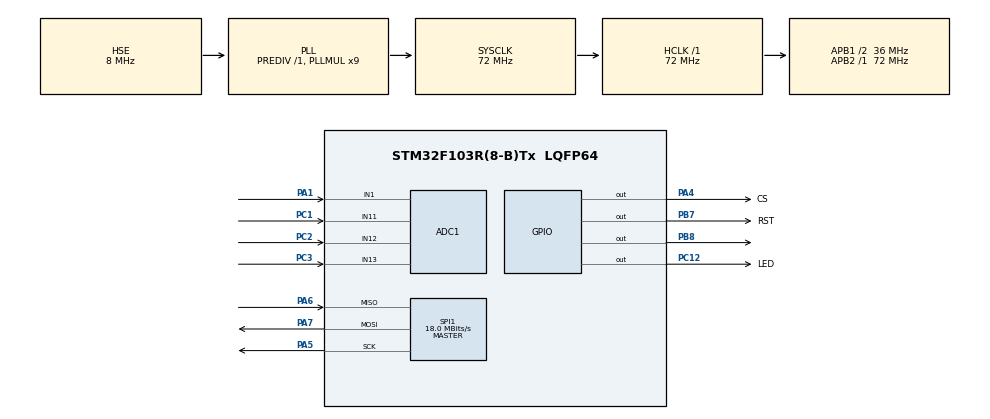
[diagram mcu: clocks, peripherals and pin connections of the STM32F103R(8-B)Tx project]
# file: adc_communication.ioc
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ADC1.Channel-3\#ChannelRegularConversion=ADC_CHANNEL_1
ADC1.Channel-7\#ChannelRegularConversion=ADC_CHANNEL_11
ADC1.Channel-8\#ChannelRegularConversion=ADC_CHANNEL_12
ADC1.Channel-9\#ChannelRegularConversion=ADC_CHANNEL_13
ADC1.ContinuousConvMode=ENABLE
ADC1.EnableRegularConversion=ENABLE
ADC1.ExternalTrigConv=ADC_SOFTWARE_START
ADC1.NbrOfConversion=4
ADC1.NbrOfConversionFlag=1
ADC1.Rank-3\#ChannelRegularConversion=1
ADC1.Rank-7\#ChannelRegularConversion=2
ADC1.Rank-8\#ChannelRegularConversion=3
ADC1.Rank-9\#ChannelRegularConversion=4
ADC1.SamplingTime-3\#ChannelRegularConversion=ADC_SAMPLETIME_13CYCLES_5
ADC1.SamplingTime-7\#ChannelRegularConversion=ADC_SAMPLETIME_13CYCLES_5
ADC1.SamplingTime-8\#ChannelRegularConversion=ADC_SAMPLETIME_13CYCLES_5
ADC1.SamplingTime-9\#ChannelRegularConversion=ADC_SAMPLETIME_13CYCLES_5
ADC1.master=1
Mcu.Family=STM32F1
Mcu.Name=STM32F103R(8-B)Tx
Mcu.Package=LQFP64
NVIC.ADC1_2_IRQn=true\:0\:0\:false\:false\:true\:true\:true\:true
NVIC.PriorityGroup=NVIC_PRIORITYGROUP_4
NVIC.SPI1_IRQn=true\:0\:0\:false\:false\:true\:true\:true\:true
NVIC.TIM4_IRQn=true\:0\:0\:false\:false\:true\:true\:true\:true
PA1.Signal=ADCx_IN1
PA13.Mode=Serial_Wire
PA13.Signal=SYS_JTMS-SWDIO
PA14.Mode=Serial_Wire
PA14.Signal=SYS_JTCK-SWCLK
PA4.GPIO_Label=CS
PA4.Signal=GPIO_Output
PA5.Mode=Full_Duplex_Master
PA5.Signal=SPI1_SCK
PA6.Mode=Full_Duplex_Master
PA6.Signal=SPI1_MISO
PA7.Mode=Full_Duplex_Master
PA7.Signal=SPI1_MOSI
PB7.GPIO_Label=RST
PB7.Signal=GPIO_Output
PB8.Signal=GPIO_Output
PC1.Signal=ADCx_IN11
PC12.GPIO_Label=LED
PC12.Signal=GPIO_Output
PC14-OSC32_IN.Signal=RCC_OSC32_IN
PC15-OSC32_OUT.Signal=RCC_OSC32_OUT
PC2.Signal=ADCx_IN12
PC3.Signal=ADCx_IN13
PD0-OSC_IN.Mode=HSE-External-Oscillator
PD0-OSC_IN.Signal=RCC_OSC_IN
PD1-OSC_OUT.Mode=HSE-External-Oscillator
PD1-OSC_OUT.Signal=RCC_OSC_OUT
ProjectManager.HeapSize=0x200
ProjectManager.StackSize=0x400
ProjectManager.TargetToolchain=STM32CubeIDE
RCC.ADCPresc=RCC_ADCPCLK2_DIV6
RCC.AHBFreq_Value=72000000
RCC.APB1CLKDivider=RCC_HCLK_DIV2
RCC.APB1Freq_Value=36000000
RCC.APB1TimFreq_Value=72000000
RCC.APB2Freq_Value=72000000
RCC.APB2TimFreq_Value=72000000
RCC.HCLKFreq_Value=72000000
RCC.PLLMUL=RCC_PLL_MUL9
RCC.PLLSourceVirtual=RCC_PLLSOURCE_HSE
RCC.SYSCLKFreq_VALUE=72000000
RCC.SYSCLKSource=RCC_SYSCLKSOURCE_PLLCLK
RCC.USBFreq_Value=72000000
SH.ADCx_IN1.0=ADC1_IN1,IN1
SH.ADCx_IN11.0=ADC1_IN11,IN11
SH.ADCx_IN12.0=ADC1_IN12,IN12
SH.ADCx_IN13.0=ADC1_IN13,IN13
SPI1.BaudRatePrescaler=SPI_BAUDRATEPRESCALER_4
SPI1.CalculateBaudRate=18.0 MBits/s
SPI1.Direction=SPI_DIRECTION_2LINES
SPI1.Mode=SPI_MODE_MASTER
SPI1.VirtualType=VM_MASTER
TIM4.Channel-Output\ Compare4\ No\ Output=TIM_CHANNEL_4
TIM4.OCMode_4=TIM_OCMODE_TOGGLE
TIM4.Period=49
TIM4.Prescaler=720
TIM4.TIM_MasterOutputTrigger=TIM_TRGO_RESET
VP_TIM4_VS_ClockSourceINT.Mode=Internal
VP_TIM4_VS_no_output4.Mode=Output Compare4 No Output
board=custom

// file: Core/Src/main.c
/* USER CODE BEGIN Header */
/**
  ******************************************************************************
  * @file           : main.c
  * @brief          : Main program body
  ******************************************************************************
  * @attention
  *
  * Copyright (c) 2022 STMicroelectronics.
  * All rights reserved.
  *
  * This software is licensed under terms that can be found in the LICENSE file
  * in the root directory of this software component.
  * If no LICENSE file comes with this software, it is provided AS-IS.
  *
  ******************************************************************************
  */
/* USER CODE END Header */
#include "main.h"

/* USER CODE BEGIN Includes */
#include "socket.h"
#include "wiznet_init.h"
#include "conf.h"
#include <string.h>
#include <stdio.h>
/* USER CODE END Includes */

 ADC_HandleTypeDef hadc1;

SPI_HandleTypeDef hspi1;

TIM_HandleTypeDef htim4;

/* USER CODE BEGIN PV */
// network information for WIZCHIP

/* USER CODE END PV */

void SystemClock_Config(void);
static void MX_GPIO_Init(void);
static void MX_ADC1_Init(void);
static void MX_TIM4_Init(void);
static void MX_SPI1_Init(void);

/* USER CODE BEGIN 0 */

/* analog_buff - buffer for values from ADC channels */
volatile uint16_t analog_buff[CH_NUM];

/* scale_ch - buffers for values from ADC channels with required sampling */
volatile uint16_t samp_ch1[BUF_LEN];
volatile uint16_t samp_ch2[BUF_LEN];
volatile uint16_t samp_ch3[BUF_LEN];
volatile uint16_t samp_ch4[BUF_LEN];
volatile uint16_t *psamp_buff[CH_NUM] = {samp_ch1, samp_ch2, samp_ch3, samp_ch4};

/* samp_pos - counter for circular filling buffers from different channels */
volatile uint16_t samp_pos = 0;
volatile uint16_t adc_counter = 0;
/* USER CODE END 0 */

int main(void)
{

  /* MCU Configuration--------------------------------------------------------*/

  /* Reset of all peripherals, Initializes the Flash interface and the Systick. */
  HAL_Init();

  /* Configure the system clock */
  SystemClock_Config();

  /* Initialize all configured peripherals */
  MX_GPIO_Init();
  MX_ADC1_Init();
  MX_TIM4_Init();
  MX_SPI1_Init();
  /* USER CODE BEGIN 2 */
  HAL_ADCEx_Calibration_Start(&hadc1);
  HAL_Delay(10);
  WIZNET_Init();
  HAL_TIM_OC_Start_IT(&htim4, TIM_CHANNEL_4);
  HAL_ADC_Start_IT(&hadc1);
  /* USER CODE END 2 */

  /* Infinite loop */
  /* USER CODE BEGIN WHILE */
  /* buffer for transfer data */
  uint16_t buf_tx[BUF_TX_LEN];

  /* buffer for receive data */
  uint8_t buf_rx[BUF_RX_LEN];

  /* IP address and port of computer and WIZNET w5500 */
  uint8_t addr_pc[4] = {192, 168, 0, 178};
  uint16_t port_pc = 4023;
  //uint8_t addr_wz[4] = {192, 168, 0, 177};
  uint16_t port_wz = 1000;
  GPIOC->BSRR = GPIO_BSRR_BS12;
  RX_data recv_data;
  Frame frame;

  /* create UDP socket and connect */
  socket(UDP_SOCKET, Sn_MR_UDP, port_wz, 0);
  connect(UDP_SOCKET, addr_pc, port_pc);

  while (1)
  {
	  /* receive data: channel ADC, command, data;
	   * configure parameters if required */
	   // 00 01 04 00 00 10 - channel, samples, timer
	  if(recvfrom(UDP_SOCKET, buf_rx, (uint16_t)BUF_RX_LEN, addr_pc, &port_pc) > 0){
		  fill_data(&recv_data, buf_rx, &frame);
		  set_period(&htim4, TIM_CHANNEL_4, recv_data.timer_period);
	  }

	  /* circular send data for one or whole ADC channels */
	  for(int j = recv_data.adc_channel; j < recv_data.send_num; j++){
		  /* temporary stop timer and create frame for transfer data */
		  HAL_TIM_OC_Stop_IT(&htim4, TIM_CHANNEL_4);
		  frame_creation(buf_tx, psamp_buff[j], (uint16_t)BUF_TX_LEN, (uint16_t)BUF_LEN, samp_pos, &recv_data, &frame);
		  HAL_TIM_OC_Start_IT(&htim4, TIM_CHANNEL_4);

		  /* transfer data */
		  for(int i = 0, nbyte = 0; nbyte < frame.total_data && i < frame.num_of_frames; i++){
			  nbyte += sendto(UDP_SOCKET, frame.buff_ptr[i], frame.frame_len, addr_pc, port_pc);
		  }
		  clear_data(&frame, &recv_data, j + 1);
	  }
    /* USER CODE END WHILE */

    /* USER CODE BEGIN 3 */
  }
  disconnect(UDP_SOCKET);
  close(UDP_SOCKET);
  /* USER CODE END 3 */
}

void SystemClock_Config(void)
{
  RCC_OscInitTypeDef RCC_OscInitStruct = {0};
  RCC_ClkInitTypeDef RCC_ClkInitStruct = {0};
  RCC_PeriphCLKInitTypeDef PeriphClkInit = {0};

  /** Initializes the RCC Oscillators according to the specified parameters
  * in the RCC_OscInitTypeDef structure.
  */
  RCC_OscInitStruct.OscillatorType = RCC_OSCILLATORTYPE_HSE;
  RCC_OscInitStruct.HSEState = RCC_HSE_ON;
  RCC_OscInitStruct.HSEPredivValue = RCC_HSE_PREDIV_DIV1;
  RCC_OscInitStruct.HSIState = RCC_HSI_ON;
  RCC_OscInitStruct.PLL.PLLState = RCC_PLL_ON;
  RCC_OscInitStruct.PLL.PLLSource = RCC_PLLSOURCE_HSE;
  RCC_OscInitStruct.PLL.PLLMUL = RCC_PLL_MUL9;
  if (HAL_RCC_OscConfig(&RCC_OscInitStruct) != HAL_OK)
  {
    Error_Handler();
  }

  /** Initializes the CPU, AHB and APB buses clocks
  */
  RCC_ClkInitStruct.ClockType = RCC_CLOCKTYPE_HCLK|RCC_CLOCKTYPE_SYSCLK
                              |RCC_CLOCKTYPE_PCLK1|RCC_CLOCKTYPE_PCLK2;
  RCC_ClkInitStruct.SYSCLKSource = RCC_SYSCLKSOURCE_PLLCLK;
  RCC_ClkInitStruct.AHBCLKDivider = RCC_SYSCLK_DIV1;
  RCC_ClkInitStruct.APB1CLKDivider = RCC_HCLK_DIV2;
  RCC_ClkInitStruct.APB2CLKDivider = RCC_HCLK_DIV1;

  if (HAL_RCC_ClockConfig(&RCC_ClkInitStruct, FLASH_LATENCY_2) != HAL_OK)
  {
    Error_Handler();
  }
  PeriphClkInit.PeriphClockSelection = RCC_PERIPHCLK_ADC;
  PeriphClkInit.AdcClockSelection = RCC_ADCPCLK2_DIV6;
  if (HAL_RCCEx_PeriphCLKConfig(&PeriphClkInit) != HAL_OK)
  {
    Error_Handler();
  }
}

static void MX_ADC1_Init(void)
{

  ADC_ChannelConfTypeDef sConfig = {0};

  /** Common config
  */
  hadc1.Instance = ADC1;
  hadc1.Init.ScanConvMode = ADC_SCAN_ENABLE;
  hadc1.Init.ContinuousConvMode = ENABLE;
  hadc1.Init.DiscontinuousConvMode = DISABLE;
  hadc1.Init.ExternalTrigConv = ADC_SOFTWARE_START;
  hadc1.Init.DataAlign = ADC_DATAALIGN_RIGHT;
  hadc1.Init.NbrOfConversion = 4;
  if (HAL_ADC_Init(&hadc1) != HAL_OK)
  {
    Error_Handler();
  }

  /** Configure Regular Channel
  */
  sConfig.Channel = ADC_CHANNEL_1;
  sConfig.Rank = ADC_REGULAR_RANK_1;
  sConfig.SamplingTime = ADC_SAMPLETIME_13CYCLES_5;
  if (HAL_ADC_ConfigChannel(&hadc1, &sConfig) != HAL_OK)
  {
    Error_Handler();
  }

  /** Configure Regular Channel
  */
  sConfig.Channel = ADC_CHANNEL_11;
  sConfig.Rank = ADC_REGULAR_RANK_2;
  if (HAL_ADC_ConfigChannel(&hadc1, &sConfig) != HAL_OK)
  {
    Error_Handler();
  }

  /** Configure Regular Channel
  */
  sConfig.Channel = ADC_CHANNEL_12;
  sConfig.Rank = ADC_REGULAR_RANK_3;
  if (HAL_ADC_ConfigChannel(&hadc1, &sConfig) != HAL_OK)
  {
    Error_Handler();
  }

  /** Configure Regular Channel
  */
  sConfig.Channel = ADC_CHANNEL_13;
  sConfig.Rank = ADC_REGULAR_RANK_4;
  if (HAL_ADC_ConfigChannel(&hadc1, &sConfig) != HAL_OK)
  {
    Error_Handler();
  }

}

static void MX_SPI1_Init(void)
{

  /* SPI1 parameter configuration*/
  hspi1.Instance = SPI1;
  hspi1.Init.Mode = SPI_MODE_MASTER;
  hspi1.Init.Direction = SPI_DIRECTION_2LINES;
  hspi1.Init.DataSize = SPI_DATASIZE_8BIT;
  hspi1.Init.CLKPolarity = SPI_POLARITY_LOW;
  hspi1.Init.CLKPhase = SPI_PHASE_1EDGE;
  hspi1.Init.NSS = SPI_NSS_SOFT;
  hspi1.Init.BaudRatePrescaler = SPI_BAUDRATEPRESCALER_4;
  hspi1.Init.FirstBit = SPI_FIRSTBIT_MSB;
  hspi1.Init.TIMode = SPI_TIMODE_DISABLE;
  hspi1.Init.CRCCalculation = SPI_CRCCALCULATION_DISABLE;
  hspi1.Init.CRCPolynomial = 10;
  if (HAL_SPI_Init(&hspi1) != HAL_OK)
  {
    Error_Handler();
  }

}

static void MX_TIM4_Init(void)
{

  TIM_ClockConfigTypeDef sClockSourceConfig = {0};
  TIM_MasterConfigTypeDef sMasterConfig = {0};
  TIM_OC_InitTypeDef sConfigOC = {0};

  htim4.Instance = TIM4;
  htim4.Init.Prescaler = 720;
  htim4.Init.CounterMode = TIM_COUNTERMODE_UP;
  htim4.Init.Period = 49;
  htim4.Init.ClockDivision = TIM_CLOCKDIVISION_DIV1;
  htim4.Init.AutoReloadPreload = TIM_AUTORELOAD_PRELOAD_DISABLE;
  if (HAL_TIM_Base_Init(&htim4) != HAL_OK)
  {
    Error_Handler();
  }
  sClockSourceConfig.ClockSource = TIM_CLOCKSOURCE_INTERNAL;
  if (HAL_TIM_ConfigClockSource(&htim4, &sClockSourceConfig) != HAL_OK)
  {
    Error_Handler();
  }
  if (HAL_TIM_OC_Init(&htim4) != HAL_OK)
  {
    Error_Handler();
  }
  sMasterConfig.MasterOutputTrigger = TIM_TRGO_RESET;
  sMasterConfig.MasterSlaveMode = TIM_MASTERSLAVEMODE_DISABLE;
  if (HAL_TIMEx_MasterConfigSynchronization(&htim4, &sMasterConfig) != HAL_OK)
  {
    Error_Handler();
  }
  sConfigOC.OCMode = TIM_OCMODE_TOGGLE;
  sConfigOC.Pulse = 0;
  sConfigOC.OCPolarity = TIM_OCPOLARITY_HIGH;
  sConfigOC.OCFastMode = TIM_OCFAST_DISABLE;
  if (HAL_TIM_OC_ConfigChannel(&htim4, &sConfigOC, TIM_CHANNEL_4) != HAL_OK)
  {
    Error_Handler();
  }

}

static void MX_GPIO_Init(void)
{
  GPIO_InitTypeDef GPIO_InitStruct = {0};

  /* GPIO Ports Clock Enable */
  __HAL_RCC_GPIOC_CLK_ENABLE();
  __HAL_RCC_GPIOD_CLK_ENABLE();
  __HAL_RCC_GPIOA_CLK_ENABLE();
  __HAL_RCC_GPIOB_CLK_ENABLE();

  /*Configure GPIO pin Output Level */
  HAL_GPIO_WritePin(CS_GPIO_Port, CS_Pin, GPIO_PIN_RESET);

  /*Configure GPIO pin Output Level */
  HAL_GPIO_WritePin(LED_GPIO_Port, LED_Pin, GPIO_PIN_RESET);

  /*Configure GPIO pin Output Level */
  HAL_GPIO_WritePin(GPIOB, RST_Pin|GPIO_PIN_8, GPIO_PIN_RESET);

  /*Configure GPIO pin : CS_Pin */
  GPIO_InitStruct.Pin = CS_Pin;
  GPIO_InitStruct.Mode = GPIO_MODE_OUTPUT_PP;
  GPIO_InitStruct.Pull = GPIO_NOPULL;
  GPIO_InitStruct.Speed = GPIO_SPEED_FREQ_LOW;
  HAL_GPIO_Init(CS_GPIO_Port, &GPIO_InitStruct);

  /*Configure GPIO pin : LED_Pin */
  GPIO_InitStruct.Pin = LED_Pin;
  GPIO_InitStruct.Mode = GPIO_MODE_OUTPUT_PP;
  GPIO_InitStruct.Pull = GPIO_NOPULL;
  GPIO_InitStruct.Speed = GPIO_SPEED_FREQ_LOW;
  HAL_GPIO_Init(LED_GPIO_Port, &GPIO_InitStruct);

  /*Configure GPIO pins : RST_Pin PB8 */
  GPIO_InitStruct.Pin = RST_Pin|GPIO_PIN_8;
  GPIO_InitStruct.Mode = GPIO_MODE_OUTPUT_PP;
  GPIO_InitStruct.Pull = GPIO_NOPULL;
  GPIO_InitStruct.Speed = GPIO_SPEED_FREQ_LOW;
  HAL_GPIO_Init(GPIOB, &GPIO_InitStruct);

}

/* USER CODE BEGIN 4 */
void HAL_ADC_ConvCpltCallback(ADC_HandleTypeDef *hadc)
{
	/* toggle pin for ADC interrupt work visualization */
	HAL_GPIO_TogglePin(GPIOB, GPIO_PIN_8);

	if(adc_counter >= CH_NUM) adc_counter = 0;
	analog_buff[adc_counter++] = HAL_ADC_GetValue(hadc);
}

void HAL_SPI_TxCpltCallback(SPI_HandleTypeDef *hspi)
{

}

void HAL_SPI_RxCpltCallback(SPI_HandleTypeDef *hspi)
{

}

void HAL_TIM_OC_DelayElapsedCallback(TIM_HandleTypeDef *htim)
{
	/* toggle pin for timer work visualization */
	HAL_GPIO_TogglePin(GPIOC, GPIO_PIN_12);

	/* if counter more than length of buffer, start over */
	if(samp_pos >= (uint16_t)BUF_LEN)
		samp_pos = 0;

	/* Every timer interrupt write value from ADC buffer
	 * to buffer with required sampling.
	 * Values from ADC channels sequentially arranged at analog buffer. */
	for(int i = 0; i < CH_NUM; i ++)
		psamp_buff[i][samp_pos] = analog_buff[i];
	samp_pos++;
}

/* USER CODE END 4 */

void Error_Handler(void)
{
  __disable_irq();
  while (1)
  {
  }
}
